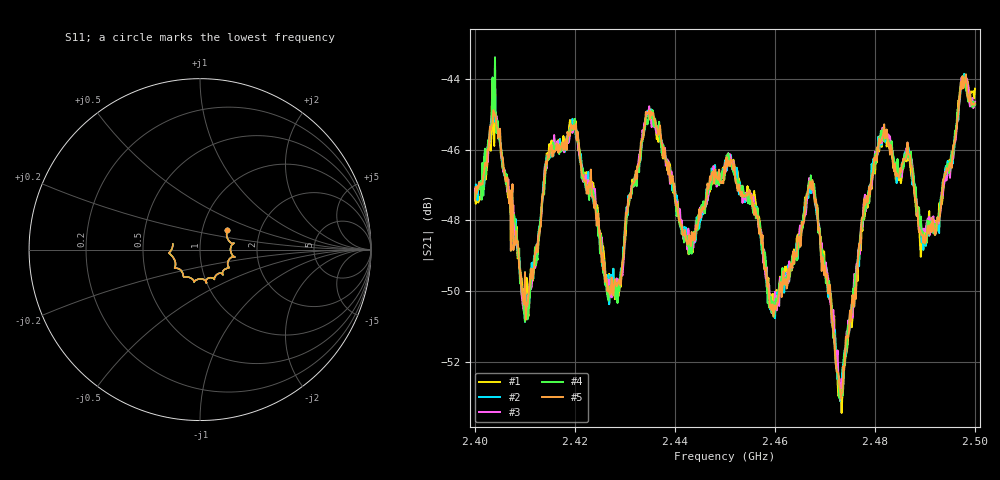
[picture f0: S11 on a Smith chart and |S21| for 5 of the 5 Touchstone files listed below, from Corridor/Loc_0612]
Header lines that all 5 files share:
# Hz S RI R
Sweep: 2.4 GHz to 2.5 GHz
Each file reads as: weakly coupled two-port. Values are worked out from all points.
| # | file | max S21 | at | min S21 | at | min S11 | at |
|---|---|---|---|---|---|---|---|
| 1 | Lab_139_1Ch1.s2p | -43.91 dB | 2.4978 GHz | -53.4 dB | 2.4733 GHz | -15.9 dB | 2.4902 GHz |
| 2 | Lab_139_5Ch1.s2p | -43.86 dB | 2.4978 GHz | -53.1 dB | 2.473 GHz | -15.9 dB | 2.4902 GHz |
| 3 | Lab_139_6Ch1.s2p | -43.96 dB | 2.4973 GHz | -53.1 dB | 2.473 GHz | -15.9 dB | 2.49 GHz |
| 4 | Lab_139_7Ch1.s2p | -43.39 dB | 2.404 GHz | -53.0 dB | 2.473 GHz | -15.9 dB | 2.4903 GHz |
| 5 | Lab_139_9Ch1.s2p | -43.87 dB | 2.4982 GHz | -53.0 dB | 2.4732 GHz | -15.9 dB | 2.4902 GHz |
